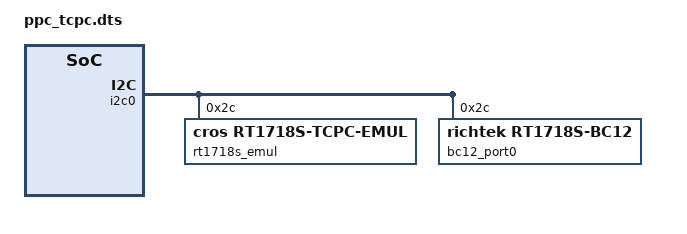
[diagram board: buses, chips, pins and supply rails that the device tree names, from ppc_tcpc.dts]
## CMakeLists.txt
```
# Copyright 2023 The ChromiumOS Authors
# Use of this source code is governed by a BSD-style license that can be
# found in the LICENSE file.

zephyr_include_directories("${CMAKE_CURRENT_SOURCE_DIR}/include")

# Add source files
target_sources(app PRIVATE
  src/test_common.c
  src/tcpc.c
  src/gpio.c
  src/adc.c
)
```

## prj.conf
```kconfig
# Copyright 2023 The ChromiumOS Authors
# Use of this source code is governed by a BSD-style license that can be
# found in the LICENSE file.

CONFIG_PLATFORM_EC_USB_PD_TCPC_LOW_POWER=y
CONFIG_PLATFORM_EC_USB_PD_TCPM_SBU=y
CONFIG_PLATFORM_EC_USB_PD_FRS_TCPC=y
```

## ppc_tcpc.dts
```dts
/* Copyright 2022 The ChromiumOS Authors
 * Use of this source code is governed by a BSD-style license that can be
 * found in the LICENSE file.
 */

#include <dt-bindings/usb_pd_tcpm.h>

/ {
	usbc {
		port0@0 {
			compatible = "named-usbc-port";
			bc12 = <&bc12_port0>;
			tcpc = <&rt1718s_emul>;
		};
	};
};

&i2c0 {
	status="okay";

	rt1718s_emul: rt1718s_emul@2c {
		compatible = "cros,rt1718s-tcpc-emul", "richtek,rt1718s-tcpc";

		status = "okay";

		reg = <0x2c>;
		tcpc-flags = <(
			TCPC_FLAGS_ALERT_OD |
			TCPC_FLAGS_CONTROL_VCONN |
			TCPC_FLAGS_CONTROL_FRS)>;
	};

	bc12_port0: rt1718s@2c {
		compatible = "richtek,rt1718s-bc12", "cros,i2c-mock";
		status = "okay";
		reg = <0x2c>;
	};

};
```

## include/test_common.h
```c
/* Copyright 2023 The ChromiumOS Authors
 * Use of this source code is governed by a BSD-style license that can be
 * found in the LICENSE file.
 */

#ifndef _RT1718S_TEST_COMMON_
#define _RT1718S_TEST_COMMON_

#include <zephyr/drivers/emul.h>

extern const int tcpm_rt1718s_port;
extern const struct emul *rt1718s_emul;

void rt1718s_clear_set_reg_history(void *f);

void compare_reg_val_with_mask(const struct emul *emul, int reg,
			       uint16_t expected, uint16_t mask);

#endif /* _RT1718S_TEST_COMMON_ */
```

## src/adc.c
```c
/* Copyright 2023 The ChromiumOS Authors
 * Use of this source code is governed by a BSD-style license that can be
 * found in the LICENSE file.
 */

#include "driver/tcpm/rt1718s.h"
#include "emul/tcpc/emul_rt1718s.h"
#include "test/drivers/test_state.h"
#include "test_common.h"

#include <zephyr/fff.h>
#include <zephyr/sys/slist.h>
#include <zephyr/ztest.h>

ZTEST(rt1718s_adc, test_adc_read)
{
	for (int ch = RT1718S_ADC_VBUS1; ch <= RT1718S_ADC_CH11; ++ch) {
		int val;

		rt1718s_emul_set_reg(rt1718s_emul, RT1718S_RT_INT6,
				     RT1718S_RT_INT6_INT_ADC_DONE);
		/*
		 * Set raw adc reading to 10, the expect return value for
		 * rt1718s_get_adc is (10 * unit), where unit = 12.5mV for
		 * VBUS1, 33mA for VBUS_CURRENT, and 4mV for all other channels.
		 */
		rt1718s_emul_set_reg(rt1718s_emul, RT1718S_ADC_CHX_VOL_L(ch),
				     10);
		rt1718s_emul_set_reg(rt1718s_emul, RT1718S_ADC_CHX_VOL_H(ch),
				     0);

		zassert_ok(rt1718s_get_adc(tcpm_rt1718s_port, ch, &val));

		compare_reg_val_with_mask(rt1718s_emul, RT1718S_ADC_CTRL_01, 0,
					  0xFF);
		compare_reg_val_with_mask(rt1718s_emul, RT1718S_ADC_CTRL_02, 0,
					  0x0F);

		if (ch == RT1718S_ADC_VBUS1) {
			zassert_equal(val, 125, "incorrect VBUS1, got %d", val);
		} else if (ch == RT1718S_ADC_VBUS_CURRENT) {
			zassert_equal(val, 330,
				      "incorrect VBUS_CURRENT, got %d", val);
		} else {
			zassert_equal(
				val, 40,
				"incorrect value in adc channel %d, got %d", ch,
				val);
		}

		rt1718s_emul_set_reg(rt1718s_emul, RT1718S_ADC_CHX_VOL_L(ch),
				     0);
	}
}

ZTEST(rt1718s_adc, test_adc_read_timeout)
{
	int val;
	struct rt1718s_emul_data *rt1718s_data = rt1718s_emul->data;
	sys_slist_t *reg_history = &rt1718s_data->set_private_reg_history;
	struct set_reg_entry_t *entry;
	bool adc_ch00_en_found = false;

	zassert_equal(rt1718s_get_adc(tcpm_rt1718s_port, RT1718S_ADC_VBUS1,
				      &val),
		      EC_ERROR_TIMEOUT);

	/* verify that ADC VBUS1 has enabled */
	SYS_SLIST_FOR_EACH_CONTAINER(reg_history, entry, node)
	{
		if (entry->reg == RT1718S_ADC_CTRL_01 &&
		    entry->val == BIT(RT1718S_ADC_VBUS1)) {
			adc_ch00_en_found = true;
		}
	}

	zassert_true(adc_ch00_en_found);

	compare_reg_val_with_mask(rt1718s_emul, RT1718S_ADC_CTRL_01, 0, 0xFF);
	compare_reg_val_with_mask(rt1718s_emul, RT1718S_ADC_CTRL_02, 0, 0x0F);
}

ZTEST_SUITE(rt1718s_adc, drivers_predicate_post_main, NULL, NULL,
	    rt1718s_clear_set_reg_history, NULL);
```

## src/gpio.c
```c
/* Copyright 2023 The ChromiumOS Authors
 * Use of this source code is governed by a BSD-style license that can be
 * found in the LICENSE file.
 */

#include "driver/tcpm/rt1718s.h"
#include "emul/tcpc/emul_rt1718s.h"
#include "gpio.h"
#include "test/drivers/test_state.h"
#include "test_common.h"

#include <zephyr/shell/shell.h>
#include <zephyr/ztest.h>

ZTEST_SUITE(rt1718s_gpio, drivers_predicate_post_main, NULL,
	    rt1718s_clear_set_reg_history, rt1718s_clear_set_reg_history, NULL);

ZTEST(rt1718s_gpio, test_set_gpio_flags)
{
	struct {
		int gpio_config;
		int expected_reg_val;
	} testdata[] = {
		{
			/* output high with open drain */
			GPIO_OUTPUT | GPIO_HIGH | GPIO_OPEN_DRAIN,
			RT1718S_GPIO_CTRL_OE | RT1718S_GPIO_CTRL_O,
		},
		{
			/* output high with push pull  */
			GPIO_OUTPUT | GPIO_HIGH,
			RT1718S_GPIO_CTRL_OE | RT1718S_GPIO_CTRL_O |
				RT1718S_GPIO_CTRL_OD_N,
		},
		{
			/* output low with open drain */
			GPIO_OUTPUT | GPIO_LOW | GPIO_OPEN_DRAIN,
			RT1718S_GPIO_CTRL_OE,
		},
		{
			/* output low with push pull */
			GPIO_OUTPUT | GPIO_LOW,
			RT1718S_GPIO_CTRL_OE | RT1718S_GPIO_CTRL_OD_N,
		},
		{
			/* input with floating */
			GPIO_INPUT,
			RT1718S_GPIO_CTRL_OD_N,
		},
		{
			/* input with pull up */
			GPIO_INPUT | GPIO_PULL_UP,
			RT1718S_GPIO_CTRL_PU | RT1718S_GPIO_CTRL_OD_N,
		},
		{
			/* input with pull down */
			GPIO_INPUT | GPIO_PULL_DOWN,
			RT1718S_GPIO_CTRL_PD | RT1718S_GPIO_CTRL_OD_N,
		},
		{
			/* input with pull up and down */
			GPIO_INPUT | GPIO_PULL_UP | GPIO_PULL_DOWN,
			RT1718S_GPIO_CTRL_PU | RT1718S_GPIO_CTRL_PD |
				RT1718S_GPIO_CTRL_OD_N,
		},
	};

	for (int gpio_num = RT1718S_GPIO1; gpio_num < RT1718S_GPIO_COUNT;
	     gpio_num++) {
		for (int i = 0; i < ARRAY_SIZE(testdata); i++) {
			rt1718s_gpio_set_flags(tcpm_rt1718s_port, gpio_num,
					       testdata[i].gpio_config);
			compare_reg_val_with_mask(rt1718s_emul,
						  RT1718S_GPIO_CTRL(gpio_num),
						  testdata[i].expected_reg_val,
						  0xFF);
		}
	}
}

ZTEST(rt1718s_gpio, test_set_level)
{
	for (int gpio_num = RT1718S_GPIO1; gpio_num < RT1718S_GPIO_COUNT;
	     gpio_num++) {
		rt1718s_gpio_set_level(tcpm_rt1718s_port, gpio_num, 0);
		compare_reg_val_with_mask(rt1718s_emul,
					  RT1718S_GPIO_CTRL(gpio_num), 0,
					  RT1718S_GPIO_CTRL_O);
		rt1718s_gpio_set_level(tcpm_rt1718s_port, gpio_num, 1);
		compare_reg_val_with_mask(rt1718s_emul,
					  RT1718S_GPIO_CTRL(gpio_num), 0xFF,
					  RT1718S_GPIO_CTRL_O);
	}
}

ZTEST(rt1718s_gpio, test_get_level)
{
	for (int gpio_num = RT1718S_GPIO1; gpio_num < RT1718S_GPIO_COUNT;
	     gpio_num++) {
		zassert_ok(rt1718s_emul_set_reg(
			rt1718s_emul, RT1718S_GPIO_CTRL(gpio_num), 0));
		zassert_equal(
			rt1718s_gpio_get_level(tcpm_rt1718s_port, gpio_num), 0);
		zassert_ok(rt1718s_emul_set_reg(rt1718s_emul,
						RT1718S_GPIO_CTRL(gpio_num),
						RT1718S_GPIO_CTRL_I));
		zassert_equal(
			rt1718s_gpio_get_level(tcpm_rt1718s_port, gpio_num), 1);
	}
}

ZTEST(rt1718s_gpio, test_command_rt1718s_gpio)
{
	zassert_ok(shell_execute_cmd(get_ec_shell(), "rt1718s_gpio"),
		   "Cannot execute command to get gpio on rt1718s");
}
```

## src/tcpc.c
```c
/* Copyright 2023 The ChromiumOS Authors
 * Use of this source code is governed by a BSD-style license that can be
 * found in the LICENSE file.
 */

#include "driver/tcpm/rt1718s.h"
#include "driver/tcpm/rt1718s_public.h"
#include "driver/tcpm/tcpci.h"
#include "emul/tcpc/emul_rt1718s.h"
#include "test/drivers/test_state.h"
#include "test_common.h"

#include <zephyr/drivers/emul.h>
#include <zephyr/sys/slist.h>
#include <zephyr/ztest.h>

ZTEST_SUITE(rt1718s_tcpc, drivers_predicate_post_main, NULL,
	    rt1718s_clear_set_reg_history, rt1718s_clear_set_reg_history, NULL);

static void test_bc12_reg_init_settings(const struct emul *emul)
{
	/* Vendor defined BC12 function is enabled */
	compare_reg_val_with_mask(emul, RT1718S_RT_MASK6,
				  RT1718S_RT_MASK6_M_BC12_SNK_DONE |
					  RT1718S_RT_MASK6_M_BC12_TA_CHG,
				  0xFF);
	compare_reg_val_with_mask(emul, RT1718S_RT2_SBU_CTRL_01,
				  RT1718S_RT2_SBU_CTRL_01_DPDM_VIEN |
					  RT1718S_RT2_SBU_CTRL_01_DM_SWEN |
					  RT1718S_RT2_SBU_CTRL_01_DP_SWEN,
				  0xFF);
	/* 2.7v mode is disabled */
	compare_reg_val_with_mask(emul, RT1718S_RT2_BC12_SNK_FUNC, 0,
				  RT1718S_RT2_BC12_SNK_FUNC_SPEC_TA_EN);
	/* DCDT is set to 600ms timeout */
	compare_reg_val_with_mask(emul, RT1718S_RT2_BC12_SNK_FUNC,
				  RT1718S_RT2_BC12_SNK_FUNC_DCDT_SEL_600MS,
				  RT1718S_RT2_BC12_SNK_FUNC_DCDT_SEL_MASK);
	/* vlgc option is disabled */
	compare_reg_val_with_mask(emul, RT1718S_RT2_BC12_SNK_FUNC, 0,
				  RT1718S_RT2_BC12_SNK_FUNC_VLGC_OPT);
	/* DPDM voltage selection is set to 65V */
	compare_reg_val_with_mask(
		emul, RT1718S_RT2_DPDM_CTR1_DPDM_SET,
		RT1718S_RT2_DPDM_CTR1_DPDM_SET_DPDM_VSRC_SEL_0_65V,
		RT1718S_RT2_DPDM_CTR1_DPDM_SET_DPDM_VSRC_SEL_MASK);
	/* Sink wait vbus is disabled */
	compare_reg_val_with_mask(emul, RT1718S_RT2_BC12_SNK_FUNC, 0,
				  RT1718S_RT2_BC12_SNK_FUNC_BC12_WAIT_VBUS);
}

static void test_common_reg_init_settings(const struct emul *emul)
{
	/* VBUS_VOL_SEL is set to 20V */
	compare_reg_val_with_mask(emul, RT1718S_RT2_VBUS_VOL_CTRL,
				  RT1718S_VBUS_VOL_TO_REG(20),
				  RT1718S_RT2_VBUS_VOL_CTRL_VOL_SEL);
	/* VCONN_OCP_SEL is set to 400mA */
	compare_reg_val_with_mask(emul, RT1718S_VCONN_CONTROL_3, 0x7F,
				  RT1718S_VCONN_CONTROL_3_VCONN_OCP_SEL);
	/* Vconn OCP shoot detection is increased from 200ns to 3~5us */
	compare_reg_val_with_mask(emul, RT1718S_VCON_CTRL4, 0,
				  RT1718S_VCON_CTRL4_OCP_CP_EN);
	/* FOD function is disabled */
	compare_reg_val_with_mask(emul, 0xCF, 0, 0x40);
	/* Exit shipping mode request is set */
	compare_reg_val_with_mask(emul, RT1718S_SYS_CTRL1, 0,
				  RT1718S_SYS_CTRL1_TCPC_CONN_INVALID);
	compare_reg_val_with_mask(emul, RT1718S_SYS_CTRL1, 0xFF,
				  RT1718S_SYS_CTRL1_SHIPPING_OFF);
	/* Alert and fault is cleared */
	compare_reg_val_with_mask(emul, TCPC_REG_FAULT_STATUS, 0, 0xFF);
	compare_reg_val_with_mask(emul, TCPC_REG_ALERT, 0, 0xFFFF);
	/*
	 * TODO Validate vendor defined alert mask is set once tcpci emul fix.
	 */
	/* FRS settings: Rx frs and valid vbus fall is set to unmasked */
	compare_reg_val_with_mask(emul, RT1718S_RT_MASK1, 0xFF,
				  RT1718S_RT_MASK1_M_RX_FRS |
					  RT1718S_RT_MASK1_M_VBUS_FRS_LOW);
}

ZTEST(rt1718s_tcpc, test_init_with_device_id_es1)
{
	rt1718s_emul_set_device_id(rt1718s_emul, RT1718S_DEVICE_ID_ES1);
	zassert_ok(rt1718s_tcpm_drv.init(tcpm_rt1718s_port),
		   "Cannot initialize rt1718s");
	test_bc12_reg_init_settings(rt1718s_emul);
	test_common_reg_init_settings(rt1718s_emul);

	compare_reg_val_with_mask(rt1718s_emul, RT1718S_VCONN_CONTROL_3, 0xFF,
				  RT1718S_VCONN_CONTROL_3_VCONN_OVP_DEG);
}

ZTEST(rt1718s_tcpc, test_init_with_device_id_es2)
{
	rt1718s_emul_set_device_id(rt1718s_emul, RT1718S_DEVICE_ID_ES2);
	zassert_ok(rt1718s_tcpm_drv.init(tcpm_rt1718s_port),
		   "Cannot initialize rt1718s");
	test_bc12_reg_init_settings(rt1718s_emul);
	test_common_reg_init_settings(rt1718s_emul);

	compare_reg_val_with_mask(rt1718s_emul, TCPC_REG_FAULT_CTRL, 0xFF,
				  TCPC_REG_FAULT_CTRL_VCONN_OCP_FAULT_DIS);
	compare_reg_val_with_mask(rt1718s_emul, RT1718S_VCON_CTRL4, 0,
				  RT1718S_VCON_CTRL4_UVP_CP_EN |
					  RT1718S_VCON_CTRL4_OCP_CP_EN);
	compare_reg_val_with_mask(rt1718s_emul, RT1718S_VCONN_CONTROL_2, 0xFF,
				  RT1718S_VCONN_CONTROL_2_OVP_EN_CC1 |
					  RT1718S_VCONN_CONTROL_2_OVP_EN_CC2);
}

ZTEST(rt1718s_tcpc, test_set_vconn_enable)
{
	struct _snode *iter_node = NULL;
	struct set_reg_entry_t *iter_entry = NULL;
	struct set_reg_entry_t *set_vconn_limit_on_entry = NULL;
	struct set_reg_entry_t *set_vconn_limit_off_entry = NULL;
	struct rt1718s_emul_data *rt1718s_data = rt1718s_emul->data;
	struct _slist *set_private_reg_history =
		&rt1718s_data->set_private_reg_history;

	zassert_ok(rt1718s_tcpm_drv.set_vconn(tcpm_rt1718s_port, true));

	iter_node = sys_slist_peek_head(set_private_reg_history);
	while (iter_node != NULL) {
		iter_entry = SYS_SLIST_CONTAINER(iter_node, iter_entry, node);
		if (iter_entry->reg == RT1718S_VCON_CTRL3 &&
		    (iter_entry->val & RT1718S_VCON_LIMIT_MODE) == 1) {
			set_vconn_limit_on_entry = iter_entry;
			break;
		}
		iter_node = iter_node->next;
	}
	/* b/233698718#comment9 workaround should applied */
	zassert_not_null(set_vconn_limit_on_entry,
			 "No entry for setting RT1718S_VCON_CTRL3");
	while (iter_node != NULL) {
		iter_entry = SYS_SLIST_CONTAINER(iter_node, iter_entry, node);
		if (iter_entry->reg == RT1718S_VCON_CTRL3 &&
		    (iter_entry->val & RT1718S_VCON_LIMIT_MODE) == 0) {
			set_vconn_limit_off_entry = iter_entry;
			break;
		}
		iter_node = iter_node->next;
	}
	zassert_not_null(set_vconn_limit_off_entry,
			 "No entry for setting RT1718S_VCON_CTRL3");
	zassert_true(
		(set_vconn_limit_off_entry->access_time -
		 set_vconn_limit_on_entry->access_time) >= 10,
		"Workaround for two setting Vconn limit is smaller than 10ms");

	/* rt1718s should be in shutdown mode. */
	compare_reg_val_with_mask(rt1718s_emul, RT1718S_VCON_CTRL3, 0x0,
				  RT1718S_VCON_LIMIT_MODE);
	/* Vconn RVP should be enabled. */
	compare_reg_val_with_mask(rt1718s_emul, RT1718S_VCONN_CONTROL_2, 0xFF,
				  RT1718S_VCONN_CONTROL_2_RVP_EN);
}

ZTEST(rt1718s_tcpc, test_set_vconn_disable)
{
	zassert_ok(rt1718s_tcpm_drv.set_vconn(tcpm_rt1718s_port, false));
	/* Vconn RVP should be disabled. */
	compare_reg_val_with_mask(rt1718s_emul, RT1718S_VCONN_CONTROL_2, 0,
				  RT1718S_VCONN_CONTROL_2_RVP_EN);
}

ZTEST(rt1718s_tcpc, test_enter_low_power_mode)
{
	zassert_ok(rt1718s_tcpm_drv.enter_low_power_mode(tcpm_rt1718s_port));
	compare_reg_val_with_mask(
		rt1718s_emul, RT1718S_SYS_CTRL2, RT1718S_SYS_CTRL2_LPWR_EN,
		RT1718S_SYS_CTRL2_LPWR_EN | RT1718S_SYS_CTRL2_BMCIO_OSC_EN);
	compare_reg_val_with_mask(rt1718s_emul, RT1718S_RT2_SBU_CTRL_01, 0,
				  0xFF);
}

ZTEST(rt1718s_tcpc, test_set_sbu)
{
	uint8_t mask = RT1718S_RT2_SBU_CTRL_01_SBU_VIEN |
		       RT1718S_RT2_SBU_CTRL_01_SBU1_SWEN |
		       RT1718S_RT2_SBU_CTRL_01_SBU2_SWEN;

	zassert_ok(rt1718s_tcpm_drv.set_sbu(tcpm_rt1718s_port, true));
	compare_reg_val_with_mask(rt1718s_emul, RT1718S_RT2_SBU_CTRL_01, 0xFF,
				  mask);

	zassert_ok(rt1718s_tcpm_drv.set_sbu(tcpm_rt1718s_port, false));
	compare_reg_val_with_mask(rt1718s_emul, RT1718S_RT2_SBU_CTRL_01, 0,
				  mask);
}

ZTEST(rt1718s_tcpc, test_set_frs)
{
	zassert_ok(rt1718s_tcpm_drv.set_frs_enable(tcpm_rt1718s_port, true));
	compare_reg_val_with_mask(rt1718s_emul, RT1718S_FRS_CTRL2,
				  RT1718S_FRS_CTRL2_RX_FRS_EN |
					  RT1718S_FRS_CTRL2_VBUS_FRS_EN | 0x10,
				  0xFF);
	compare_reg_val_with_mask(
		rt1718s_emul, RT1718S_VBUS_CTRL_EN,
		RT1718S_VBUS_CTRL_EN_GPIO2_VBUS_PATH_EN |
			RT1718S_VBUS_CTRL_EN_GPIO1_VBUS_PATH_EN | 0x3F,
		0xFF);

	zassert_ok(rt1718s_tcpm_drv.set_frs_enable(tcpm_rt1718s_port, false));
	compare_reg_val_with_mask(rt1718s_emul, RT1718S_FRS_CTRL2, 0x10, 0xFF);
	compare_reg_val_with_mask(rt1718s_emul, RT1718S_VBUS_CTRL_EN, 0x3F,
				  0xFF);
}

ZTEST(rt1718s_tcpc, test_set_snk_ctrl)
{
	zassert_ok(rt1718s_tcpm_drv.set_snk_ctrl(tcpm_rt1718s_port, true));
	compare_reg_val_with_mask(
		rt1718s_emul, TCPC_REG_COMMAND, TCPC_REG_COMMAND_SNK_CTRL_HIGH,
		TCPC_REG_COMMAND_SNK_CTRL_HIGH | TCPC_REG_COMMAND_SNK_CTRL_LOW);

	zassert_ok(rt1718s_tcpm_drv.set_snk_ctrl(tcpm_rt1718s_port, false));
	compare_reg_val_with_mask(
		rt1718s_emul, TCPC_REG_COMMAND, TCPC_REG_COMMAND_SNK_CTRL_LOW,
		TCPC_REG_COMMAND_SNK_CTRL_HIGH | TCPC_REG_COMMAND_SNK_CTRL_LOW);
}

ZTEST(rt1718s_tcpc, test_set_src_ctrl)
{
	zassert_ok(rt1718s_tcpm_drv.set_src_ctrl(tcpm_rt1718s_port, true));
	compare_reg_val_with_mask(
		rt1718s_emul, TCPC_REG_COMMAND, TCPC_REG_COMMAND_SRC_CTRL_HIGH,
		TCPC_REG_COMMAND_SRC_CTRL_HIGH | TCPC_REG_COMMAND_SRC_CTRL_LOW);

	zassert_ok(rt1718s_tcpm_drv.set_src_ctrl(tcpm_rt1718s_port, false));
	compare_reg_val_with_mask(
		rt1718s_emul, TCPC_REG_COMMAND, TCPC_REG_COMMAND_SRC_CTRL_LOW,
		TCPC_REG_COMMAND_SRC_CTRL_HIGH | TCPC_REG_COMMAND_SRC_CTRL_LOW);
}

ZTEST(rt1718s_tcpc, test_tcpc_alert)
{
	/*
	 * Set a standard TCPCI alert.
	 * This ensures (alert & ~TCPC_REG_ALERT_VENDOR_DEF) evaluates to true.
	 */
	uint16_t alert_mask = TCPC_REG_ALERT_CC_STATUS;

	/* Use the emulator to set the ALERT register directly */
	tcpci_emul_set_reg(rt1718s_emul, TCPC_REG_ALERT, alert_mask);

	/* Verify the emulator register is actually set before the test */
	compare_reg_val_with_mask(rt1718s_emul, TCPC_REG_ALERT, alert_mask,
				  alert_mask);

	/*
	 * Call the rt1718s TCPM driver's alert handler function.
	 */
	rt1718s_tcpm_drv.tcpc_alert(tcpm_rt1718s_port);

	/*
	 * If the code entered the `if (alert & ~TCPC_REG_ALERT_VENDOR_DEF)`
	 * block, it called `tcpci_tcpc_alert_with_value`. The standard behavior
	 * of that function is to process the event and write-to-clear the ALERT
	 * register.
	 */
	compare_reg_val_with_mask(rt1718s_emul, TCPC_REG_ALERT, 0, alert_mask);
}
```

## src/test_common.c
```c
/* Copyright 2023 The ChromiumOS Authors
 * Use of this source code is governed by a BSD-style license that can be
 * found in the LICENSE file.
 */

#include "emul/tcpc/emul_rt1718s.h"
#include "test/drivers/stubs.h"

#include <zephyr/drivers/emul.h>
#include <zephyr/ztest.h>

#define RT1718S_NODE DT_NODELABEL(rt1718s_emul)

const int tcpm_rt1718s_port = USBC_PORT_C0;
const struct emul *rt1718s_emul = EMUL_DT_GET(RT1718S_NODE);

void rt1718s_clear_set_reg_history(void *f)
{
	rt1718s_emul_reset_set_history(rt1718s_emul);
}

static uint16_t get_emul_reg(const struct emul *emul, int reg)
{
	uint16_t val;

	zassert_ok(rt1718s_emul_get_reg(emul, reg, &val),
		   "Cannot get reg %x on rt1718s emul", reg);
	return val;
}

void compare_reg_val_with_mask(const struct emul *emul, int reg,
			       uint16_t expected, uint16_t mask)
{
	uint16_t masked_val = get_emul_reg(emul, reg) & mask;
	uint16_t masked_expected = expected & mask;

	zassert_equal(masked_val, masked_expected,
		      "expected register %x with mask %x should be %x, get %x",
		      reg, mask, masked_expected, masked_val);
}
```
